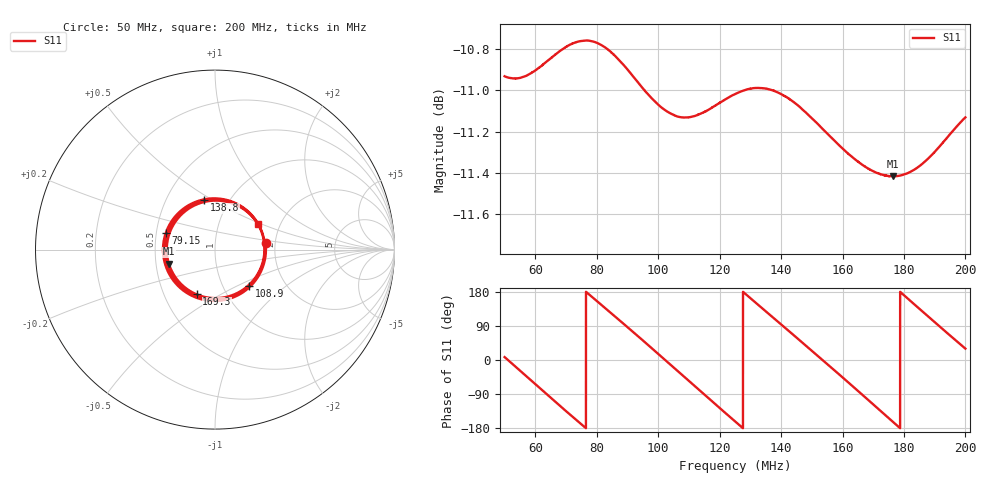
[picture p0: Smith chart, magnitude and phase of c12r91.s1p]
! COPPER MOUNTAIN TECHNOLOGIES, PLANAR TR1300/1, 00071119, 20.2.2/1.0
! Date: 12/11/2023 3:18:22 PM
! Data: Format [Calibration Info]
! Freq  S11: Re/Im F1
# HZ S RI R 50
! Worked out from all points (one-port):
!   12288 points, 50 MHz to 200 MHz, reference 50 ohm
!   lowest |S11| = -11.4 dB at 176.4 MHz (marker M1), VSWR 1.73, Z = 29.2 - j4.93 ohm
!   |S11| at or under -10 dB: start of sweep to end of sweep
!   S11 on the Smith chart (normalised r, x): 50 MHz: 1.78, +0.15; 79.15 MHz: 0.56, +0.11; 108.9 MHz: 1.32, -0.58; 138.8 MHz: 0.77, +0.46; 169.3 MHz: 0.73, -0.39; 200 MHz: 1.55, +0.47
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5e7  0.2815 0.0382
5.493204e7  0.2511 -0.1323
6.042565e7  0.1103 -0.263
6.453976e7  -0.0327 -0.2849
6.875153e7  -0.1705 -0.2326
7.411085e7  -0.2778 -0.0819
7.915276e7  -0.2748 0.0914
8.750305e7  -0.0694 0.278
9.256938e7  0.1028 0.2643
9.812403e7  0.2437 0.1388
1.062546e8  0.2444 -0.1319
1.088671e8  0.189 -0.2034
1.165948e8  -0.06 -0.2723
1.250061e8  -0.2673 -0.0874
1.313543e8  -0.2533 0.1245
1.388134e8  -0.0594 0.2752
1.437576e8  0.1051 0.2597
1.487751e8  0.2329 0.1519
1.531944e8  0.2758 0.0107
1.575893e8  0.2402 -0.1317
1.625092e8  0.1207 -0.2435
1.69309e8  -0.102 -0.2495
1.763897e8  -0.257 -0.0782
1.812607e8  -0.2559 0.0833
1.863392e8  -0.158 0.2197
1.907219e8  -0.0223 0.2718
1.949825e8  0.117 0.2489
2e8  0.2404 0.1389
